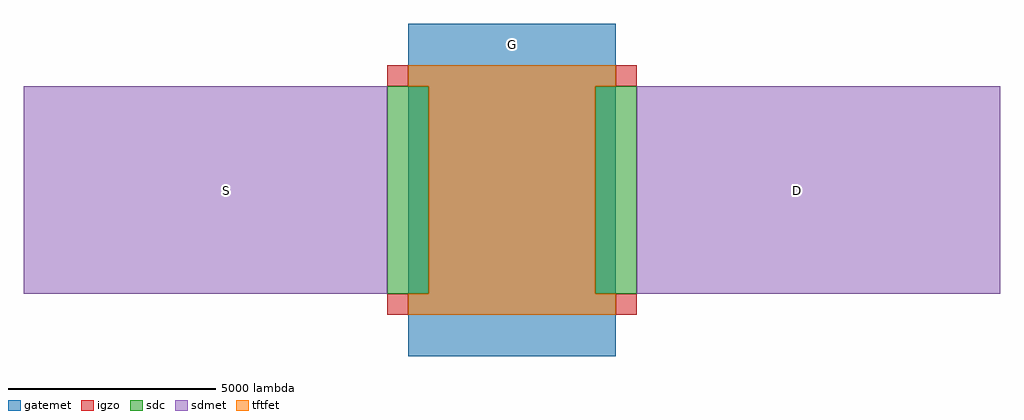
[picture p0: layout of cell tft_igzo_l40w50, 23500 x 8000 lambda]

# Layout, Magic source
magic
tech igzo_mmm_lab
<< igzo >>
rect -3000 2500 -2500 3000
rect 2500 2500 3000 3000
rect -3000 -3000 -2500 -2500
rect 2500 -3000 3000 -2500
<< tftfet >>
rect -2500 2500 2500 3000
rect -2000 -2500 2000 2500
rect -2500 -3000 2500 -2500
<< sdc >>
rect -3000 -2500 -2000 2500
rect 2000 -2500 3000 2500
<< sdmet >>
rect -11750 -2500 -3000 2500
rect 3000 -2500 11750 2500
<< gatemet >>
rect -2500 -4000 2500 4000
<< labels >>
rlabel sdmet s -7125 -250 -6625 250 4 S
port 3 nsew
rlabel sdmet s 6625 -250 7125 250 4 D
port 5 nsew
rlabel gatemet s -250 3250 250 3750 4 G
port 7 nsew
<< end >>
